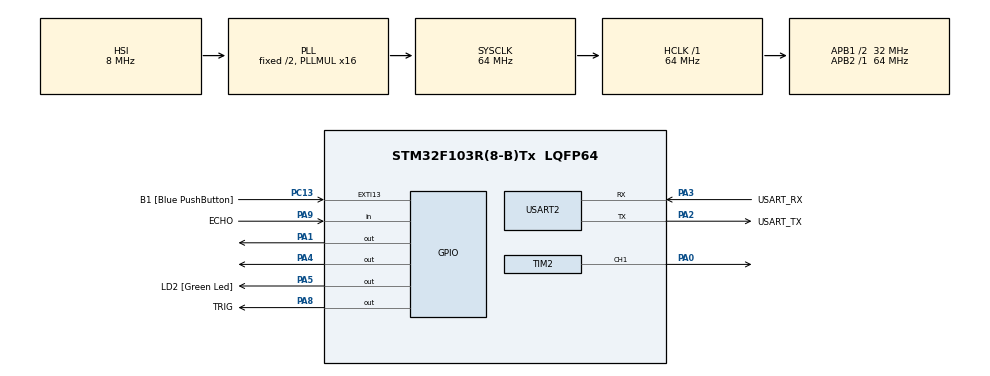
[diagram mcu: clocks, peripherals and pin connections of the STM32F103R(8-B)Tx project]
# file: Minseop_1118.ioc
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FREERTOS.Tasks01=defaultTask,0,128,StartDefaultTask,Default,NULL
FREERTOS.configMAX_PRIORITIES=20
Mcu.Family=STM32F1
Mcu.Name=STM32F103R(8-B)Tx
Mcu.Package=LQFP64
NVIC.EXTI15_10_IRQn=true\:5\:0\:false\:false\:true\:true\:true\:true
NVIC.PriorityGroup=NVIC_PRIORITYGROUP_4
PA0-WKUP.Signal=S_TIM2_CH1_ETR
PA1.Signal=GPIO_Output
PA13.GPIO_Label=TMS
PA13.Mode=Serial_Wire
PA13.Signal=SYS_JTMS-SWDIO
PA14.GPIO_Label=TCK
PA14.Mode=Serial_Wire
PA14.Signal=SYS_JTCK-SWCLK
PA2.GPIO_Label=USART_TX
PA2.GPIO_Mode=GPIO_MODE_AF_PP
PA2.GPIO_PuPd=GPIO_NOPULL
PA2.GPIO_Speed=GPIO_SPEED_FREQ_LOW
PA2.Mode=Asynchronous
PA2.Signal=USART2_TX
PA3.GPIO_Label=USART_RX
PA3.GPIO_Mode=GPIO_MODE_AF_PP
PA3.GPIO_PuPd=GPIO_NOPULL
PA3.GPIO_Speed=GPIO_SPEED_FREQ_LOW
PA3.Mode=Asynchronous
PA3.Signal=USART2_RX
PA4.Signal=GPIO_Output
PA5.GPIO_Label=LD2 [Green Led]
PA5.GPIO_ModeDefaultOutputPP=GPIO_MODE_OUTPUT_PP
PA5.GPIO_PuPd=GPIO_NOPULL
PA5.GPIO_Speed=GPIO_SPEED_FREQ_LOW
PA5.Signal=GPIO_Output
PA8.GPIO_Label=TRIG
PA8.Signal=GPIO_Output
PA9.GPIO_Label=ECHO
PA9.Signal=GPIO_Input
PB3.GPIO_Label=SWO
PB3.Signal=SYS_JTDO-TRACESWO
PC13-TAMPER-RTC.GPIO_Label=B1 [Blue PushButton]
PC13-TAMPER-RTC.GPIO_PuPd=GPIO_NOPULL
PC13-TAMPER-RTC.Signal=GPXTI13
PC14-OSC32_IN.Mode=LSE-External-Oscillator
PC14-OSC32_IN.Signal=RCC_OSC32_IN
PC15-OSC32_OUT.Mode=LSE-External-Oscillator
PC15-OSC32_OUT.Signal=RCC_OSC32_OUT
PD0-OSC_IN.Mode=HSE-External-Clock-Source
PD0-OSC_IN.Signal=RCC_OSC_IN
PD1-OSC_OUT.Mode=HSE-External-Clock-Source
PD1-OSC_OUT.Signal=RCC_OSC_OUT
ProjectManager.HeapSize=0x200
ProjectManager.StackSize=0x400
ProjectManager.TargetToolchain=STM32CubeIDE
RCC.AHBFreq_Value=64000000
RCC.APB1CLKDivider=RCC_HCLK_DIV2
RCC.APB1Freq_Value=32000000
RCC.APB1TimFreq_Value=64000000
RCC.APB2Freq_Value=64000000
RCC.APB2TimFreq_Value=64000000
RCC.HCLKFreq_Value=64000000
RCC.PLLMUL=RCC_PLL_MUL16
RCC.RTCClockSelection=RCC_RTCCLKSOURCE_LSE
RCC.SYSCLKFreq_VALUE=64000000
RCC.SYSCLKSource=RCC_SYSCLKSOURCE_PLLCLK
RCC.USBFreq_Value=64000000
SH.S_TIM2_CH1_ETR.0=TIM2_CH1,PWM Generation1 CH1
TIM2.Channel-PWM\ Generation1\ CH1=TIM_CHANNEL_1
TIM2.Period=1000
TIM2.Prescaler=64-1
TIM3.Period=0xffff-1
TIM3.Prescaler=64-1
TIM4.Period=0xffff-1
TIM4.Prescaler=64-1
USART2.VirtualMode=VM_ASYNC
VP_FREERTOS_VS_CMSIS_V1.Mode=CMSIS_V1
VP_TIM2_VS_ClockSourceINT.Mode=Internal
VP_TIM3_VS_ClockSourceINT.Mode=Internal
VP_TIM4_VS_ClockSourceINT.Mode=Internal
board=NUCLEO-F103RB

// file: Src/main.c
/* USER CODE BEGIN Header */
/**
  ******************************************************************************
  * @file           : main.c
  * @brief          : Main program body
  ******************************************************************************
  * @attention
  *
  * <h2><center>&copy; Copyright (c) 2024 STMicroelectronics.
  * All rights reserved.</center></h2>
  *
  * This software component is licensed by ST under BSD 3-Clause license,
  * the "License"; You may not use this file except in compliance with the
  * License. You may obtain a copy of the License at:
  *                        opensource.org/licenses/BSD-3-Clause
  *
  ******************************************************************************
  */
/* USER CODE END Header */

#include "main.h"
#include "cmsis_os.h"

/* USER CODE BEGIN Includes */
#include "event_groups.h"
#include <stdio.h>
/* USER CODE END Includes */

/* USER CODE BEGIN PD */
#define ENGINE_OIL_PRES_OK 0x01
#define ENGINE_OIL_TEMP_OK 0x02
#define ENGINE_START 0x04

EventGroupHandle_t group_id;
/* USER CODE END PD */

TIM_HandleTypeDef htim2;
TIM_HandleTypeDef htim3;
TIM_HandleTypeDef htim4;

UART_HandleTypeDef huart2;

osThreadId defaultTaskHandle;
osThreadId MotorTaskHandle;
/* USER CODE BEGIN PV */
volatile int motor_state = 1;

/* USER CODE END PV */

void SystemClock_Config(void);
static void MX_GPIO_Init(void);
static void MX_USART2_UART_Init(void);
static void MX_TIM2_Init(void);
static void MX_TIM3_Init(void);
static void MX_TIM4_Init(void);
void StartDefaultTask(void const * argument);
void StartMotorTask(void const * argument);

/* USER CODE BEGIN 0 */

int __io_putchar(int ch)
{
 if ( ch == '\n' )
	 HAL_UART_Transmit(&huart2, (uint8_t*)&"\r", 1, HAL_MAX_DELAY);
 HAL_UART_Transmit(&huart2, (uint8_t*)&ch, 1, HAL_MAX_DELAY);
 return ch;
}

void HAL_GPIO_EXTI_Callback(uint16_t GPIO_Pin) {
    // 모든 외부 인터럽트에 대해 모터 상태를 토글
    motor_state++;  // 인터럽트 발생 시 motor_state 값을 증가시켜 토글

    if (motor_state % 2 == 1) {
        // 모터 정지
        HAL_TIM_PWM_Stop(&htim2, TIM_CHANNEL_1); // PWM 멈춤
        HAL_GPIO_WritePin(GPIOA, GPIO_PIN_1, GPIO_PIN_RESET); // IN1 LOW
        HAL_GPIO_WritePin(GPIOA, GPIO_PIN_4, GPIO_PIN_RESET); // IN2 LOW

        // UART로 정지 메시지 전송
        char stop_msg[] = "Motor stopped!\r\n";
        HAL_UART_Transmit(&huart2, (uint8_t*)stop_msg, strlen(stop_msg), HAL_MAX_DELAY);
    } else {
        // 모터 재시작
        HAL_TIM_PWM_Start(&htim2, TIM_CHANNEL_1); // PWM 재시작
        __HAL_TIM_SET_COMPARE(&htim2, TIM_CHANNEL_1, 500);
        HAL_GPIO_WritePin(GPIOA, GPIO_PIN_1, GPIO_PIN_SET);   // IN1 HIGH
        HAL_GPIO_WritePin(GPIOA, GPIO_PIN_4, GPIO_PIN_RESET); // IN2 LOW

        // UART로 재시작 메시지 전송
        char start_msg[] = "Motor started!\r\n";
        HAL_UART_Transmit(&huart2, (uint8_t*)start_msg, strlen(start_msg), HAL_MAX_DELAY);
    }
}

void delay_us(uint32_t us)
{
    __HAL_TIM_SET_COUNTER(&htim3, 0);  // ???���? 카운?�� 초기?��
    HAL_TIM_Base_Start(&htim3);
    while (__HAL_TIM_GET_COUNTER(&htim3) < us); // ?��?��?�� us�? ?�� ?��까�? ??�?
    HAL_TIM_Base_Stop(&htim3);
}
void SR04_read(void)
{
	EventBits_t uxBits;
    HAL_TIM_Base_Start(&htim4);  // Echo 측정?�� ?��?�� ???���? ?��?��
    uint32_t echoStart = 0;
    uint32_t echoEnd = 0;
    uint32_t distance = 0;

    // Trigger ?? High ?��?�� 10us ?��?�� ?���?
    HAL_GPIO_WritePin(TRIG_GPIO_Port, TRIG_Pin, GPIO_PIN_SET);
    delay_us(10);
    HAL_GPIO_WritePin(TRIG_GPIO_Port, TRIG_Pin, GPIO_PIN_RESET);

    // Echo ?��?�� ??�? (?��?�� ?���? 감�?)
    __HAL_TIM_SET_COUNTER(&htim4, 0);
    while (HAL_GPIO_ReadPin(ECHO_GPIO_Port, ECHO_Pin) == GPIO_PIN_RESET);
    echoStart = __HAL_TIM_GET_COUNTER(&htim4);

    // Echo ?��?�� ??�? (?���? ?���? 감�?)
    while (HAL_GPIO_ReadPin(ECHO_GPIO_Port, ECHO_Pin) == GPIO_PIN_SET);
    echoEnd = __HAL_TIM_GET_COUNTER(&htim4);

    // 거리 계산 (초음?�� ?��?�� 34300 cm/s ?��?��)
    distance = (echoEnd - echoStart) * 0.0343 / 2;

    // UART 출력
    char msg[20];
    sprintf(msg, "Distance: %lu cm\r\n", distance);
    HAL_UART_Transmit(&huart2, (uint8_t*)msg, strlen(msg), HAL_MAX_DELAY);

    HAL_TIM_Base_Stop(&htim4);
    if (distance <=7){
            uxBits = xEventGroupSetBits(group_id, \
                    								ENGINE_OIL_PRES_OK);

        }

}
/* USER CODE END 0 */

int main(void)
{

  /* MCU Configuration--------------------------------------------------------*/

  /* Reset of all peripherals, Initializes the Flash interface and the Systick. */
  HAL_Init();

  /* Configure the system clock */
  SystemClock_Config();

  /* Initialize all configured peripherals */
  MX_GPIO_Init();
  MX_USART2_UART_Init();
  MX_TIM2_Init();
  MX_TIM3_Init();
  MX_TIM4_Init();

  /* USER CODE BEGIN RTOS_QUEUES */
  /* add queues, ... */
  group_id = xEventGroupCreate();
  if (group_id == NULL) printf("xEventGroupCreate error found\n");

  /* USER CODE END RTOS_QUEUES */

  /* Create the thread(s) */
  /* definition and creation of defaultTask */
  osThreadDef(defaultTask, StartDefaultTask, osPriorityNormal, 0, 128);
  defaultTaskHandle = osThreadCreate(osThread(defaultTask), NULL);

  osThreadDef(MotorTask, StartMotorTask, osPriorityNormal, 0, 128);
  MotorTaskHandle = osThreadCreate(osThread(MotorTask), NULL);

  /* Start scheduler */
  osKernelStart();

  /* We should never get here as control is now taken by the scheduler */

  /* Infinite loop */
  while (1)
  {

  }
}

void SystemClock_Config(void)
{
  RCC_OscInitTypeDef RCC_OscInitStruct = {0};
  RCC_ClkInitTypeDef RCC_ClkInitStruct = {0};

  /** Initializes the CPU, AHB and APB busses clocks
  */
  RCC_OscInitStruct.OscillatorType = RCC_OSCILLATORTYPE_HSI;
  RCC_OscInitStruct.HSIState = RCC_HSI_ON;
  RCC_OscInitStruct.HSICalibrationValue = RCC_HSICALIBRATION_DEFAULT;
  RCC_OscInitStruct.PLL.PLLState = RCC_PLL_ON;
  RCC_OscInitStruct.PLL.PLLSource = RCC_PLLSOURCE_HSI_DIV2;
  RCC_OscInitStruct.PLL.PLLMUL = RCC_PLL_MUL16;
  if (HAL_RCC_OscConfig(&RCC_OscInitStruct) != HAL_OK)
  {
    Error_Handler();
  }
  /** Initializes the CPU, AHB and APB busses clocks
  */
  RCC_ClkInitStruct.ClockType = RCC_CLOCKTYPE_HCLK|RCC_CLOCKTYPE_SYSCLK
                              |RCC_CLOCKTYPE_PCLK1|RCC_CLOCKTYPE_PCLK2;
  RCC_ClkInitStruct.SYSCLKSource = RCC_SYSCLKSOURCE_PLLCLK;
  RCC_ClkInitStruct.AHBCLKDivider = RCC_SYSCLK_DIV1;
  RCC_ClkInitStruct.APB1CLKDivider = RCC_HCLK_DIV2;
  RCC_ClkInitStruct.APB2CLKDivider = RCC_HCLK_DIV1;

  if (HAL_RCC_ClockConfig(&RCC_ClkInitStruct, FLASH_LATENCY_2) != HAL_OK)
  {
    Error_Handler();
  }
}

static void MX_TIM2_Init(void)
{

  TIM_ClockConfigTypeDef sClockSourceConfig = {0};
  TIM_MasterConfigTypeDef sMasterConfig = {0};
  TIM_OC_InitTypeDef sConfigOC = {0};

  htim2.Instance = TIM2;
  htim2.Init.Prescaler = 64-1;
  htim2.Init.CounterMode = TIM_COUNTERMODE_UP;
  htim2.Init.Period = 1000;
  htim2.Init.ClockDivision = TIM_CLOCKDIVISION_DIV1;
  htim2.Init.AutoReloadPreload = TIM_AUTORELOAD_PRELOAD_DISABLE;
  if (HAL_TIM_Base_Init(&htim2) != HAL_OK)
  {
    Error_Handler();
  }
  sClockSourceConfig.ClockSource = TIM_CLOCKSOURCE_INTERNAL;
  if (HAL_TIM_ConfigClockSource(&htim2, &sClockSourceConfig) != HAL_OK)
  {
    Error_Handler();
  }
  if (HAL_TIM_PWM_Init(&htim2) != HAL_OK)
  {
    Error_Handler();
  }
  sMasterConfig.MasterOutputTrigger = TIM_TRGO_RESET;
  sMasterConfig.MasterSlaveMode = TIM_MASTERSLAVEMODE_DISABLE;
  if (HAL_TIMEx_MasterConfigSynchronization(&htim2, &sMasterConfig) != HAL_OK)
  {
    Error_Handler();
  }
  sConfigOC.OCMode = TIM_OCMODE_PWM1;
  sConfigOC.Pulse = 0;
  sConfigOC.OCPolarity = TIM_OCPOLARITY_HIGH;
  sConfigOC.OCFastMode = TIM_OCFAST_DISABLE;
  if (HAL_TIM_PWM_ConfigChannel(&htim2, &sConfigOC, TIM_CHANNEL_1) != HAL_OK)
  {
    Error_Handler();
  }
  HAL_TIM_MspPostInit(&htim2);

}

static void MX_TIM3_Init(void)
{

  TIM_ClockConfigTypeDef sClockSourceConfig = {0};
  TIM_MasterConfigTypeDef sMasterConfig = {0};

  htim3.Instance = TIM3;
  htim3.Init.Prescaler = 64-1;
  htim3.Init.CounterMode = TIM_COUNTERMODE_UP;
  htim3.Init.Period = 0xffff-1;
  htim3.Init.ClockDivision = TIM_CLOCKDIVISION_DIV1;
  htim3.Init.AutoReloadPreload = TIM_AUTORELOAD_PRELOAD_DISABLE;
  if (HAL_TIM_Base_Init(&htim3) != HAL_OK)
  {
    Error_Handler();
  }
  sClockSourceConfig.ClockSource = TIM_CLOCKSOURCE_INTERNAL;
  if (HAL_TIM_ConfigClockSource(&htim3, &sClockSourceConfig) != HAL_OK)
  {
    Error_Handler();
  }
  sMasterConfig.MasterOutputTrigger = TIM_TRGO_RESET;
  sMasterConfig.MasterSlaveMode = TIM_MASTERSLAVEMODE_DISABLE;
  if (HAL_TIMEx_MasterConfigSynchronization(&htim3, &sMasterConfig) != HAL_OK)
  {
    Error_Handler();
  }

}

static void MX_TIM4_Init(void)
{

  TIM_ClockConfigTypeDef sClockSourceConfig = {0};
  TIM_MasterConfigTypeDef sMasterConfig = {0};

  htim4.Instance = TIM4;
  htim4.Init.Prescaler = 64-1;
  htim4.Init.CounterMode = TIM_COUNTERMODE_UP;
  htim4.Init.Period = 0xffff-1;
  htim4.Init.ClockDivision = TIM_CLOCKDIVISION_DIV1;
  htim4.Init.AutoReloadPreload = TIM_AUTORELOAD_PRELOAD_DISABLE;
  if (HAL_TIM_Base_Init(&htim4) != HAL_OK)
  {
    Error_Handler();
  }
  sClockSourceConfig.ClockSource = TIM_CLOCKSOURCE_INTERNAL;
  if (HAL_TIM_ConfigClockSource(&htim4, &sClockSourceConfig) != HAL_OK)
  {
    Error_Handler();
  }
  sMasterConfig.MasterOutputTrigger = TIM_TRGO_RESET;
  sMasterConfig.MasterSlaveMode = TIM_MASTERSLAVEMODE_DISABLE;
  if (HAL_TIMEx_MasterConfigSynchronization(&htim4, &sMasterConfig) != HAL_OK)
  {
    Error_Handler();
  }

}

static void MX_USART2_UART_Init(void)
{

  huart2.Instance = USART2;
  huart2.Init.BaudRate = 115200;
  huart2.Init.WordLength = UART_WORDLENGTH_8B;
  huart2.Init.StopBits = UART_STOPBITS_1;
  huart2.Init.Parity = UART_PARITY_NONE;
  huart2.Init.Mode = UART_MODE_TX_RX;
  huart2.Init.HwFlowCtl = UART_HWCONTROL_NONE;
  huart2.Init.OverSampling = UART_OVERSAMPLING_16;
  if (HAL_UART_Init(&huart2) != HAL_OK)
  {
    Error_Handler();
  }

}

static void MX_GPIO_Init(void)
{
  GPIO_InitTypeDef GPIO_InitStruct = {0};

  /* GPIO Ports Clock Enable */
  __HAL_RCC_GPIOC_CLK_ENABLE();
  __HAL_RCC_GPIOD_CLK_ENABLE();
  __HAL_RCC_GPIOA_CLK_ENABLE();
  __HAL_RCC_GPIOB_CLK_ENABLE();

  /*Configure GPIO pin Output Level */
  HAL_GPIO_WritePin(GPIOA, GPIO_PIN_1|GPIO_PIN_4|LD2_Pin|TRIG_Pin, GPIO_PIN_RESET);

  /*Configure GPIO pin : B1_Pin */
  GPIO_InitStruct.Pin = B1_Pin;
  GPIO_InitStruct.Mode = GPIO_MODE_IT_RISING;
  GPIO_InitStruct.Pull = GPIO_NOPULL;
  HAL_GPIO_Init(B1_GPIO_Port, &GPIO_InitStruct);

  /*Configure GPIO pins : PA1 PA4 LD2_Pin TRIG_Pin */
  GPIO_InitStruct.Pin = GPIO_PIN_1|GPIO_PIN_4|LD2_Pin|TRIG_Pin;
  GPIO_InitStruct.Mode = GPIO_MODE_OUTPUT_PP;
  GPIO_InitStruct.Pull = GPIO_NOPULL;
  GPIO_InitStruct.Speed = GPIO_SPEED_FREQ_LOW;
  HAL_GPIO_Init(GPIOA, &GPIO_InitStruct);

  /*Configure GPIO pin : ECHO_Pin */
  GPIO_InitStruct.Pin = ECHO_Pin;
  GPIO_InitStruct.Mode = GPIO_MODE_INPUT;
  GPIO_InitStruct.Pull = GPIO_NOPULL;
  HAL_GPIO_Init(ECHO_GPIO_Port, &GPIO_InitStruct);

  /* EXTI interrupt init*/
  HAL_NVIC_SetPriority(EXTI15_10_IRQn, 5, 0);
  HAL_NVIC_EnableIRQ(EXTI15_10_IRQn);

}

void StartDefaultTask(void const * argument) {
	EventBits_t uxBits;

    // 초음파 센서 데이터 읽기 및 처리
    while (1) {
        SR04_read();

        HAL_Delay(100); // 안정화 딜레이
    }
}

void StartMotorTask(void const * argument) {
    // 모터 초기화 및 상태 메시지 출력
	EventBits_t uxBits;

	group_id = xEventGroupCreate();
	if (group_id == NULL) printf("xEventGroupCreate error found\n");

	while (1) {

		uxBits = xEventGroupWaitBits( group_id, \
						ENGINE_OIL_PRES_OK + ENGINE_OIL_TEMP_OK, \
						pdTRUE, \
						pdFALSE, \
						portMAX_DELAY );

		//printf("."); fflush(stdout);
	char msg[] = "Motor Task Started.\r\n";
    HAL_UART_Transmit(&huart2, (uint8_t*)msg, strlen(msg), 100);

    HAL_TIM_PWM_Stop(&htim2, TIM_CHANNEL_1); // PWM 멈춤
            HAL_GPIO_WritePin(GPIOA, GPIO_PIN_1, GPIO_PIN_RESET); // IN1 LOW
            HAL_GPIO_WritePin(GPIOA, GPIO_PIN_4, GPIO_PIN_RESET); // IN2 LOW

            // UART로 정지 메시지 전송
            char stop_msg[] = "Motor stopped!\r\n";
            HAL_UART_Transmit(&huart2, (uint8_t*)stop_msg, strlen(stop_msg), HAL_MAX_DELAY);

    HAL_Delay(100); // 주기적 모니터링
	}

}

void Error_Handler(void)
{
}

/************************ (C) COPYRIGHT STMicroelectronics *****END OF FILE****/
